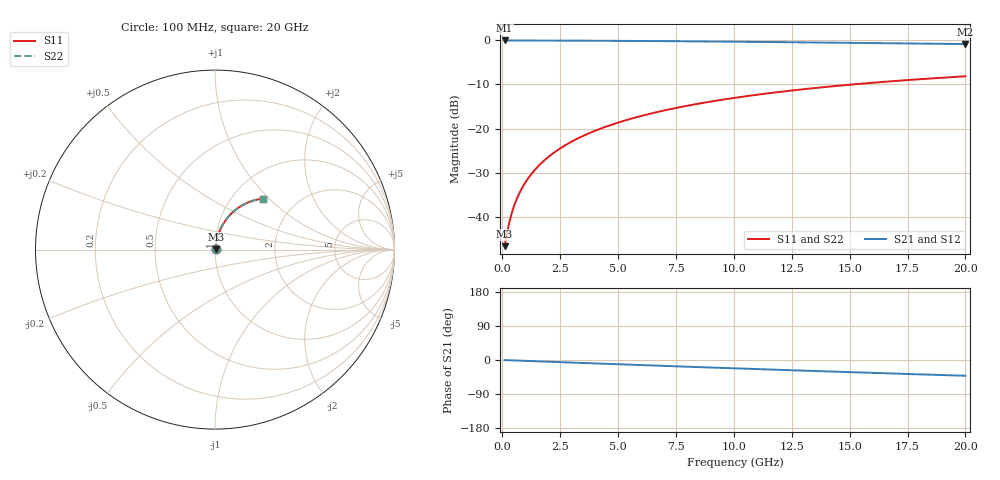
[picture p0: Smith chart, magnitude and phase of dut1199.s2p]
! Touchstone file exported from HFSS 2026.1.0
!  File:  C:/ffzhzh/LocalFiles/Ansys_Project_Files/temp_train_BSMRDL_1199_1783176469_51560.aedt
!  Generated:  10:49:01 PM Jul  4, 2026
!  Design:  BSMRDL
!  Project:  temp_train_BSMRDL_1199_1783176469_51560
! Variables:
!  h_bsmrdl = 3.96um
!  h_ox = 20um
!  h_rdl = 5um
!  h_sub = 80um
!  h_tmrdl = 5um
!  h_tsv = 80um
!  h_via = 3um
!  l_bsmrdl = 613.77um
!  l_sub = 1013.77um
!  l_tmrdl = 200um
!  m_sub = 200um
!  pitch = 36.59um
!  r_tsv = 6um
!  s_tmrdl = 10um
!  w_bsmrdl = 14.35um
!  w_sub = 500um
!  w_tmrdl = 12um
!  x_tsv_center1 = 206um
!  x_tsv_center2 = 834.12um
!  x_tsv_center3 = 1046.12um
!  x_tsv_center4 = 1674.24um
!  x_tsv_center5 = 1886.24um
!  x_tsv_center6 = 2514.36um
# GHz S MA R 50.000000
! Terminal data exported
! Port[1] = BSM_RDL1_1_T1
! Port[2] = BSM_RDL1_1_T2
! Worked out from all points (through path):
!   200 points, 100 MHz to 20 GHz, reference 50 ohm
!   highest |S21| = -0.03 dB at 100 MHz (marker M1); lowest = -0.9 dB at 20 GHz (marker M2)
!   group delay of S21, straight-line fit = 5.77 ps
!   lowest |S11| = -46.6 dB at 100 MHz (marker M3), VSWR 1.01, Z = 50.4 + j0.258 ohm
!   |S11| at or under -10 dB: start of sweep to 15.1 GHz
!   |S22| runs from -46.6 to -8.1 dB; largest |S21 - S12| = 2.7e-15
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0.1  0.004686 33.1  0.9961 -0.2  0.9961 -0.2  0.004686 33.1
! Gamma 0 0 0 0
! Port Impedance 50 0 50 0
0.2  0.006501 51.4  0.996 -0.5  0.996 -0.5  0.006501 51.4
0.3  0.008651 60.7  0.9958 -0.7  0.9958 -0.7  0.008651 60.7
0.4  0.0109 66.0  0.9957 -0.9  0.9957 -0.9  0.0109 66.0
0.5  0.01318 69.4  0.9956 -1.2  0.9956 -1.2  0.01318 69.4
0.6  0.01547 71.8  0.9954 -1.4  0.9954 -1.4  0.01547 71.8
0.8  0.02009 74.9  0.9952 -1.8  0.9952 -1.8  0.02009 74.9
1.1  0.02707 77.3  0.9949 -2.5  0.9949 -2.5  0.02707 77.3
1.3  0.03175 78.2  0.9947 -3.0  0.9947 -3.0  0.03175 78.2
1.6  0.03879 78.9  0.9943 -3.6  0.9943 -3.6  0.03879 78.9
2.1  0.05053 79.3  0.9935 -4.8  0.9935 -4.8  0.05053 79.3
2.7  0.06456 78.9  0.9924 -6.1  0.9924 -6.1  0.06456 78.9
3.5  0.08312 77.9  0.9905 -7.9  0.9905 -7.9  0.08312 77.9
4.2  0.09916 76.7  0.9886 -9.5  0.9886 -9.5  0.09916 76.7
5  0.1172 75.3  0.986 -11.2  0.986 -11.2  0.1172 75.3
5.9  0.1372 73.5  0.9828 -13.2  0.9828 -13.2  0.1372 73.5
6.8  0.1567 71.7  0.9792 -15.2  0.9792 -15.2  0.1567 71.7
8.3  0.1884 68.7  0.9726 -18.4  0.9726 -18.4  0.1883 68.7
10.1  0.2247 65.1  0.9639 -22.1  0.9639 -22.1  0.2247 65.2
13.4  0.2867 58.7  0.946 -28.9  0.946 -28.9  0.2867 58.7
16.7  0.3423 52.5  0.9266 -35.4  0.9266 -35.4  0.3423 52.5
20  0.3914 46.5  0.9066 -41.6  0.9066 -41.6  0.3914 46.5
